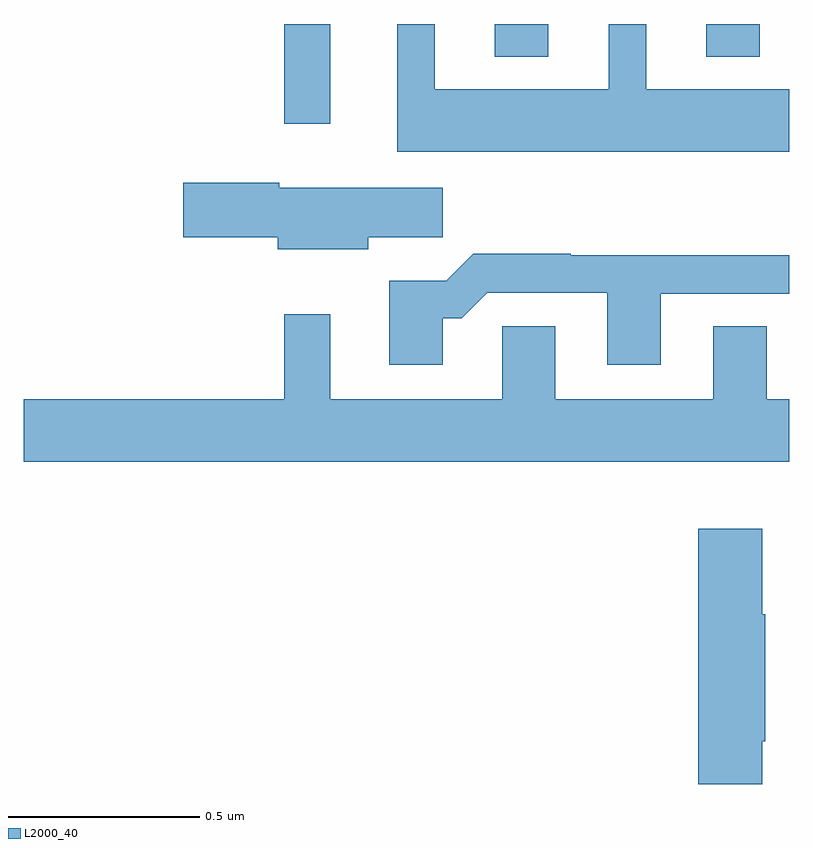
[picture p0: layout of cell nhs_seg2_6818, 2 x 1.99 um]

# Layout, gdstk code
import gdstk
lib = gdstk.Library(unit=1e-6, precision=1e-09)
def R(c, l, rs):  # rectangles x0, y0, x1, y1
    for r in rs: c.add(gdstk.rectangle(r[:2], r[2:], *l))
def P(c, l, *ps):  # polygons
    for p in ps: c.add(gdstk.Polygon(p, *l))
L2000_40 = (2000, 40)

nhs_seg2_6818 = lib.new_cell('nhs_seg2_6818')
R(nhs_seg2_6818, L2000_40, [(196.68,628.539,196.801,628.8), (197.231,628.715,197.371,628.8), (197.783,628.715,197.923,628.8)])
P(nhs_seg2_6818, L2000_40, [(198,628.63),(197.626,628.63),(197.626,628.8),(197.528,628.8),(197.528,628.63),(197.074,628.63),(197.074,628.8),(196.976,628.8),(196.976,628.466),(198,628.466)],
  [(196.9,628.243),(197.095,628.243),(197.095,628.372),(196.668,628.372),(196.668,628.385),(196.416,628.385),(196.416,628.243),(196.664,628.243),(196.664,628.211),(196.9,628.211)],
  [(197.095,628.031),(197.144,628.031),(197.211,628.098),(197.525,628.098),(197.525,627.909),(197.665,627.909),(197.665,628.095),(198,628.095),(198,628.196),(197.429,628.196),(197.429,628.199),(197.174,628.199),(197.104,628.129),(196.955,628.129),(196.955,627.909),(197.095,627.909)],
  [(198,627.82),(197.941,627.82),(197.941,628.01),(197.801,628.01),(197.801,627.82),(197.389,627.82),(197.389,628.01),(197.25,628.01),(197.25,627.82),(196.801,627.82),(196.801,628.042),(196.68,628.042),(196.68,627.82),(196,627.82),(196,627.656),(198,627.656)],
  [(197.929,626.926),(197.937,626.926),(197.937,627.257),(197.929,627.257),(197.929,627.481),(197.762,627.481),(197.762,626.814),(197.929,626.814)])

lib.write_gds('nhs_seg2_6818.gds')
